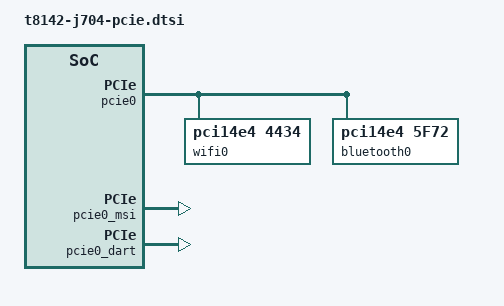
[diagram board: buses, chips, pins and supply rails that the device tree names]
// SPDX-License-Identifier: GPL-2.0+ OR MIT
/*
 * Internal PCIe: BCM4388 Wi-Fi/Bluetooth on apcie port 0. As on J813, the
 * bootloader trains the link and Linux uses the root port as a generic ECAM
 * host that owns the DART and the endpoints. Nothing programs the port's
 * RID-to-SID table, so both functions use stream zero of the port's DART.
 * Ranges, the MSI map and the DART IRQ are from the J704 ADT; port 0
 * matches J813.
 *
 * The GL9755 SD card reader sits on port 2 (ADT pci-bridge2, bus 2, MSI map
 * at 0x48a028000, pcie2_dart). The bootloader trains port 0 only, so the
 * ECAM window and the MSI controller stop at port 0 until port 2 is
 * trained too.
 */

&{/} {
	pcie0: pcie@1cb0000000 {
		compatible = "pci-host-ecam-generic";
		device_type = "pci";
		#address-cells = <3>;
		#size-cells = <2>;
		bus-range = <0 1>;
		reg = <0x1c 0xb0000000 0 0x200000>;
		ranges = <0x43000000 0xb 0xc0000000 0xb 0xc0000000 0 0x20000000>,
			 <0x02000000 0 0x80000000 0xb 0x80000000 0 0x40000000>;
		dma-coherent;
		msi-parent = <&pcie0_msi>;
		/*
		 * Port 2's root port (00:02.0) still enumerates on bus 0 and has no
		 * entry here, so "no iommu-map translation for id 0x10" is expected.
		 */
		iommu-map = <0x100 &pcie0_dart 0 1>,
			    <0x101 &pcie0_dart 0 1>;

		port00: pci@0,0 {
			device_type = "pci";
			reg = <0x0 0x0 0x0 0x0 0x0>;
			bus-range = <1 1>;
			#address-cells = <3>;
			#size-cells = <2>;
			ranges;

			wifi0: wifi@0,0 {
				compatible = "pci14e4,4434";
				reg = <0x10000 0x0 0x0 0x0 0x0>;
				brcm,board-type = "apple,linosa";
				/* To be filled by the loader */
				local-mac-address = [00 10 18 00 00 10];
				apple,antenna-sku = "XX";
			};

			bluetooth0: bluetooth@0,1 {
				compatible = "pci14e4,5f72";
				reg = <0x10100 0x0 0x0 0x0 0x0>;
				brcm,board-type = "apple,linosa";
				/* To be filled by the loader */
				local-bd-address = [00 00 00 00 00 00];
			};
		};
	};
};

&{/soc} {
	/*
	 * Port 0's MSI map (ADT msi-vector-offset 1741, port 0 owns the first
	 * 32 vectors).
	 */
	pcie0_msi: msi-controller@488028000 {
		compatible = "apple,t8142-pcie-msi";
		reg = <0x4 0x88028000 0x0 0x8000>;
		msi-controller;
		msi-ranges = <&aic AIC_IRQ 1741 IRQ_TYPE_EDGE_RISING 32>;
	};
};

&pcie0_dart {
	status = "okay";
};
